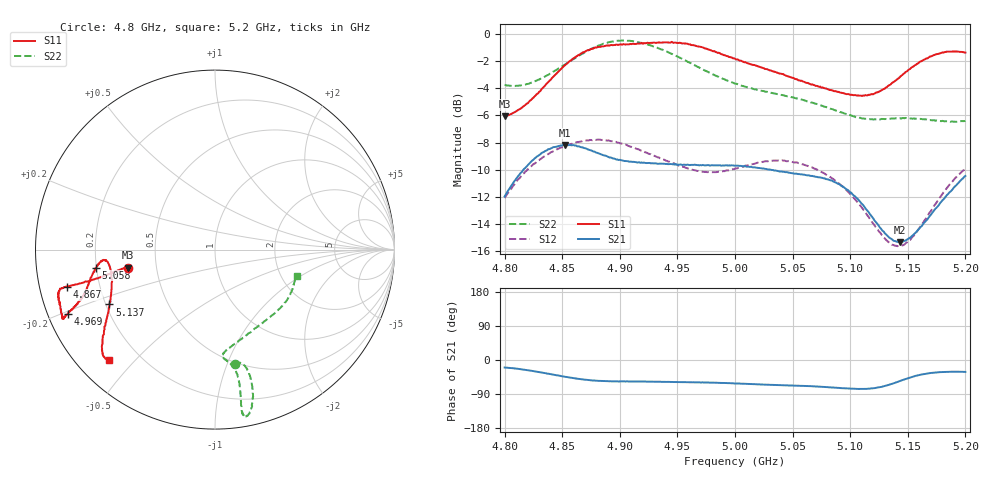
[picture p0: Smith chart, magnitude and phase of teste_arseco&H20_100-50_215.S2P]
! Network Analyzer HP8722D
! Hewlett-Packard
! Data name: Linha & Wilkinson
! Saver's name: Rodrigo Anjos
! Comments: Teste da utilização de aquisição
! continua pelo VNA HP8722D
! Time and date: 6/5/2025 14:21
!  Frequency  S11  S21  S12  S22
# HZ  S  MA R 50
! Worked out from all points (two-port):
!   401 points, 4.8 GHz to 5.2 GHz, reference 50 ohm
!   highest |S21| = -8.17 dB at 4.852 GHz (marker M1); lowest = -15.3 dB at 5.143 GHz (marker M2)
!   |S21| within 3 dB of the highest: 4.806 GHz to 5.092 GHz (286.7 MHz wide, 5.79 % of centre); 5.191619 GHz to end of sweep
!   lowest |S11| = -6.1 dB at 4.8 GHz (marker M3), VSWR 2.98, Z = 16.9 - j4.55 ohm
!   |S11| at or under -10 dB: nowhere
!   |S22| runs from -6.5 to -0.5 dB; largest |S21 - S12| = 0.62
!   S11 on the Smith chart (normalised r, x): 4.8 GHz: 0.34, -0.09; 4.867 GHz: 0.08, -0.12; 4.969 GHz: 0.06, -0.21; 5.058 GHz: 0.20, -0.07; 5.137 GHz: 0.21, -0.23; 5.2 GHz: 0.09, -0.42
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4.8e9  0.4973 -168.3  0.2523 -19.8  0.2492 -141.0  0.649 -80.4
4.823e9  0.5713 -167.6  0.3388 -28.3  0.3254 -143.9  0.6607 -76.0
4.852e9  0.7639 -165.9  0.3904 -44.0  0.3869 -149.6  0.7689 -74.6
4.867e9  0.85 -165.8  0.3826 -51.0  0.4024 -152.1  0.8434 -75.4
4.88e9  0.8906 -165.6  0.3655 -54.7  0.408 -154.3  0.9006 -76.8
4.899e9  0.9111 -163.0  0.3436 -56.6  0.3977 -156.7  0.9437 -79.1
4.916e9  0.9214 -159.3  0.3368 -56.8  0.3762 -157.2  0.9314 -80.4
4.934e9  0.9298 -156.4  0.3329 -57.5  0.3509 -155.7  0.8825 -80.4
4.969e9  0.8961 -156.5  0.3283 -59.0  0.3126 -147.4  0.7514 -79.8
5e9  0.8089 -159.1  0.3272 -61.8  0.3197 -137.3  0.6556 -81.3
5.034e9  0.7258 -165.3  0.3143 -65.9  0.342 -134.4  0.6031 -85.6
5.058e9  0.672 -171.4  0.3045 -68.1  0.3316 -136.1  0.5729 -84.6
5.067e9  0.6512 -173.0  0.3003 -69.2  0.3227 -136.8  0.5584 -82.6
5.083e9  0.6211 -174.5  0.2889 -72.3  0.2966 -138.2  0.5302 -76.9
5.101e9  0.5969 -172.2  0.2601 -75.9  0.255 -138.9  0.5011 -66.5
5.116e9  0.5968 -165.4  0.221 -75.9  0.2122 -135.5  0.4849 -55.7
5.134e9  0.647 -154.4  0.178 -65.2  0.1707 -120.7  0.487 -43.2
5.137e9  0.6627 -152.5  0.1743 -62.3  0.1676 -116.8  0.4885 -41.5
5.143e9  0.6926 -149.3  0.1715 -55.7  0.1661 -108.8  0.4899 -38.0
5.154e9  0.756 -144.6  0.1814 -44.4  0.1793 -94.9  0.4874 -32.3
5.174e9  0.8387 -138.6  0.2275 -32.9  0.2365 -80.5  0.4792 -24.0
5.2e9  0.8528 -133.7  0.3002 -31.4  0.3191 -77.0  0.4781 -17.6
